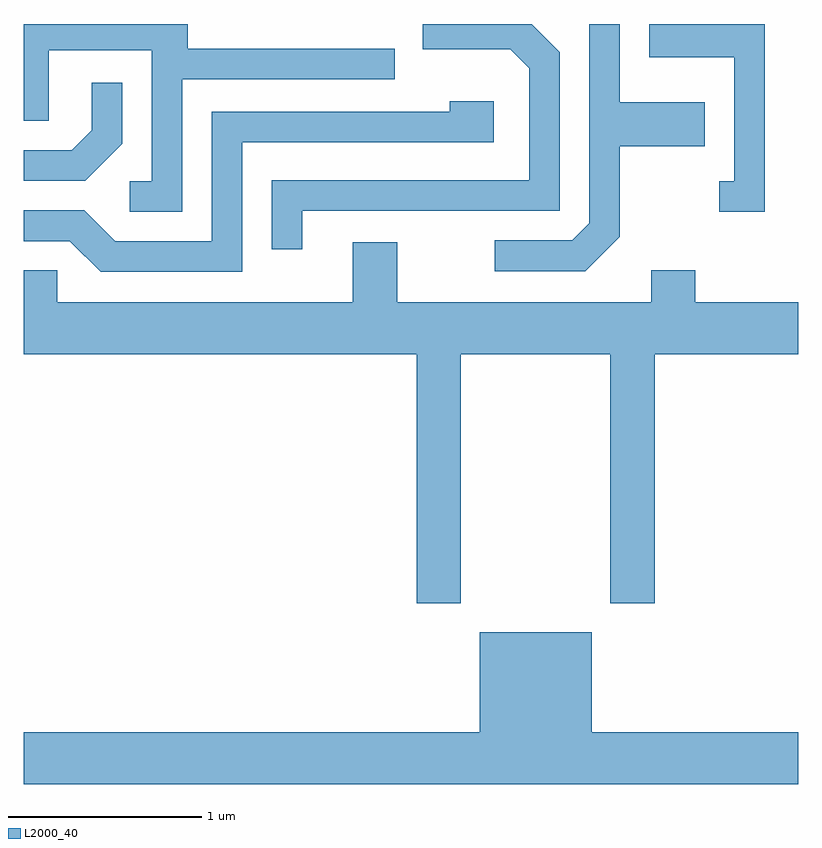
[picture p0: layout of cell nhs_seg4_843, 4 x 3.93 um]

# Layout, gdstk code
import gdstk
lib = gdstk.Library(unit=1e-6, precision=1e-09)
def P(c, l, *ps):  # polygons
    for p in ps: c.add(gdstk.Polygon(p, *l))
L2000_40 = (2000, 40)

nhs_seg4_843 = lib.new_cell('nhs_seg4_843')
P(nhs_seg4_843, L2000_40, [(212.689,1310.884),(212.689,1311.351),(213.129,1311.351),(213.129,1311.579),(212.689,1311.579),(212.689,1311.982),(212.531,1311.982),(212.531,1310.952),(212.444,1310.864),(212.043,1310.864),(212.043,1310.706),(212.512,1310.706)],
  [(210.429,1311.696),(211.528,1311.696),(211.528,1311.854),(210.459,1311.854),(210.459,1311.982),(209.611,1311.982),(209.611,1311.481),(209.739,1311.481),(209.739,1311.846),(210.271,1311.846),(210.271,1311.169),(210.158,1311.169),(210.158,1311.011),(210.429,1311.011)],
  [(211.049,1311.016),(212.379,1311.016),(212.379,1311.837),(212.234,1311.982),(211.671,1311.982),(211.671,1311.851),(212.124,1311.851),(212.221,1311.754),(212.221,1311.174),(210.891,1311.174),(210.891,1310.818),(211.049,1310.818)],
  [(213.439,1311.982),(212.841,1311.982),(212.841,1311.811),(213.281,1311.811),(213.281,1311.169),(213.203,1311.169),(213.203,1311.011),(213.439,1311.011)],
  [(210.119,1311.364),(210.119,1311.678),(209.961,1311.678),(209.961,1311.432),(209.859,1311.329),(209.611,1311.329),(209.611,1311.171),(209.927,1311.171)],
  [(210.739,1311.371),(212.039,1311.371),(212.039,1311.584),(211.811,1311.584),(211.811,1311.529),(210.581,1311.529),(210.581,1310.859),(210.082,1310.859),(209.922,1311.019),(209.611,1311.019),(209.611,1310.861),(209.849,1310.861),(210.009,1310.701),(210.739,1310.701)],
  [(211.539,1310.854),(211.311,1310.854),(211.311,1310.544),(209.784,1310.544),(209.784,1310.709),(209.611,1310.709),(209.611,1310.276),(211.641,1310.276),(211.641,1308.991),(211.869,1308.991),(211.869,1310.276),(212.641,1310.276),(212.641,1308.991),(212.869,1308.991),(212.869,1310.276),(213.611,1310.276),(213.611,1310.544),(213.079,1310.544),(213.079,1310.709),(212.851,1310.709),(212.851,1310.544),(211.539,1310.544)],
  [(213.611,1308.324),(212.544,1308.324),(212.544,1308.839),(211.966,1308.839),(211.966,1308.324),(209.611,1308.324),(209.611,1308.056),(213.611,1308.056)])

lib.write_gds('nhs_seg4_843.gds')
